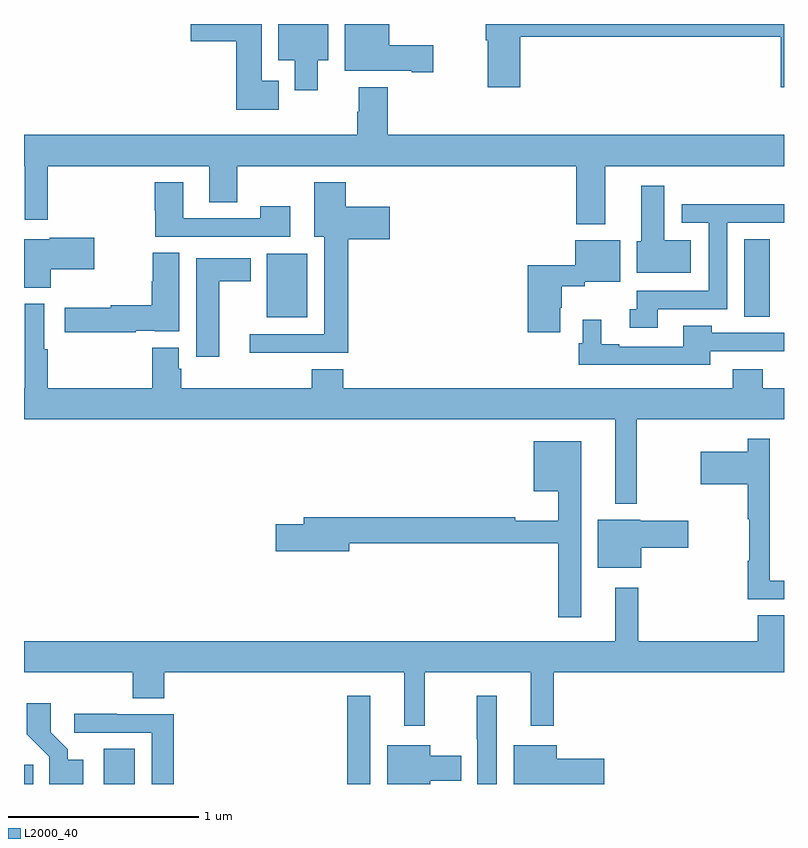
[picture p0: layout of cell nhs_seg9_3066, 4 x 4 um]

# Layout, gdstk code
import gdstk
lib = gdstk.Library(unit=1e-6, precision=1e-09)
def R(c, l, rs):  # rectangles x0, y0, x1, y1
    for r in rs: c.add(gdstk.rectangle(r[:2], r[2:], *l))
def P(c, l, *ps):  # polygons
    for p in ps: c.add(gdstk.Polygon(p, *l))
L2000_40 = (2000, 40)

nhs_seg9_3066 = lib.new_cell('nhs_seg9_3066')
R(nhs_seg9_3066, L2000_40, [(287,1194.5,287.048,1194.602), (287.42,1194.5,287.584,1194.685), (288.702,1194.5,288.823,1194.964), (288.278,1196.957,288.49,1197.292), (290.792,1196.959,290.926,1197.368)])
P(nhs_seg9_3066, L2000_40, [(288.547,1198.31),(288.601,1198.31),(288.601,1198.5),(288.338,1198.5),(288.338,1198.31),(288.425,1198.31),(288.425,1198.152),(288.547,1198.152)],
  [(289.153,1198.388),(288.922,1198.388),(288.922,1198.5),(288.689,1198.5),(288.689,1198.253),(289.04,1198.253),(289.04,1198.246),(289.153,1198.246)],
  [(289.613,1198.432),(290.984,1198.432),(290.984,1198.167),(291,1198.167),(291,1198.5),(289.43,1198.5),(289.43,1198.415),(289.442,1198.415),(289.442,1198.167),(289.613,1198.167)],
  [(288.34,1198.201),(288.25,1198.201),(288.25,1198.5),(287.877,1198.5),(287.877,1198.409),(288.116,1198.409),(288.116,1198.049),(288.34,1198.049)],
  [(290.059,1197.752),(291,1197.752),(291,1197.916),(288.914,1197.916),(288.914,1198.168),(288.761,1198.168),(288.761,1198.037),(288.754,1198.037),(288.754,1197.916),(287,1197.916),(287,1197.752),(287.003,1197.752),(287.003,1197.471),(287.125,1197.471),(287.125,1197.752),(287.975,1197.752),(287.975,1197.562),(288.123,1197.562),(288.123,1197.752),(289.907,1197.752),(289.907,1197.447),(290.059,1197.447)],
  [(288.4,1197.541),(288.244,1197.541),(288.244,1197.477),(287.839,1197.477),(287.839,1197.667),(287.687,1197.667),(287.687,1197.519),(287.692,1197.519),(287.692,1197.381),(288.4,1197.381)],
  [(288.707,1197.368),(288.925,1197.368),(288.925,1197.538),(288.694,1197.538),(288.694,1197.667),(288.527,1197.667),(288.527,1197.38),(288.581,1197.38),(288.581,1196.868),(288.189,1196.868),(288.189,1196.771),(288.707,1196.771)],
  [(290.509,1197.361),(290.371,1197.361),(290.371,1197.649),(290.249,1197.649),(290.249,1197.357),(290.225,1197.357),(290.225,1197.191),(290.509,1197.191)],
  [(290.335,1197),(290.7,1197),(290.7,1197.453),(291,1197.453),(291,1197.551),(290.463,1197.551),(290.463,1197.453),(290.604,1197.453),(290.604,1197.096),(290.226,1197.096),(290.226,1196.999),(290.187,1196.999),(290.187,1196.901),(290.335,1196.901)],
  [(287.14,1197.209),(287.371,1197.209),(287.371,1197.375),(287.136,1197.375),(287.136,1197.367),(287,1197.367),(287,1197.113),(287.14,1197.113)],
  [(289.822,1197.006),(289.83,1197.006),(289.83,1197.119),(289.95,1197.119),(289.95,1197.144),(290.137,1197.144),(290.137,1197.361),(289.901,1197.361),(289.901,1197.229),(289.652,1197.229),(289.652,1196.877),(289.822,1196.877)],
  [(287.588,1196.885),(287.688,1196.885),(287.688,1196.882),(287.818,1196.882),(287.818,1197.296),(287.677,1197.296),(287.677,1197.146),(287.672,1197.146),(287.672,1197.02),(287.457,1197.02),(287.457,1197.007),(287.214,1197.007),(287.214,1196.878),(287.588,1196.878)],
  [(288.028,1197.146),(288.193,1197.146),(288.193,1197.268),(287.906,1197.268),(287.906,1196.748),(288.028,1196.748)],
  [(290.225,1196.42),(291,1196.42),(291,1196.584),(290.889,1196.584),(290.889,1196.683),(290.729,1196.683),(290.729,1196.584),(288.68,1196.584),(288.68,1196.683),(288.515,1196.683),(288.515,1196.584),(287.828,1196.584),(287.828,1196.685),(287.815,1196.685),(287.815,1196.797),(287.675,1196.797),(287.675,1196.584),(287.125,1196.584),(287.125,1196.789),(287.107,1196.789),(287.107,1197.028),(287.003,1197.028),(287.003,1196.584),(287,1196.584),(287,1196.42),(290.111,1196.42),(290.111,1195.976),(290.225,1195.976)],
  [(290.611,1196.778),(291,1196.778),(291,1196.874),(290.619,1196.874),(290.619,1196.911),(290.471,1196.911),(290.471,1196.802),(290.134,1196.802),(290.134,1196.815),(290.038,1196.815),(290.038,1196.944),(289.941,1196.944),(289.941,1196.82),(289.921,1196.82),(289.921,1196.706),(290.611,1196.706)],
  [(291,1195.569),(290.925,1195.569),(290.925,1196.094),(290.926,1196.094),(290.926,1196.317),(290.809,1196.317),(290.809,1196.248),(290.562,1196.248),(290.562,1196.078),(290.809,1196.078),(290.809,1195.894),(290.817,1195.894),(290.817,1195.676),(290.809,1195.676),(290.809,1195.473),(291,1195.473)],
  [(289.933,1196.305),(289.682,1196.305),(289.682,1196.042),(289.812,1196.042),(289.812,1195.885),(289.586,1195.885),(289.586,1195.904),(288.473,1195.904),(288.473,1195.868),(288.324,1195.868),(288.324,1195.726),(288.712,1195.726),(288.712,1195.768),(289.812,1195.768),(289.812,1195.377),(289.933,1195.377)],
  [(290.248,1195.744),(290.497,1195.744),(290.497,1195.886),(290.244,1195.886),(290.244,1195.891),(290.021,1195.891),(290.021,1195.637),(290.248,1195.637)],
  [(289.108,1195.088),(289.667,1195.088),(289.667,1194.807),(289.789,1194.807),(289.789,1195.088),(291,1195.088),(291,1195.388),(290.861,1195.388),(290.861,1195.252),(290.233,1195.252),(290.233,1195.534),(290.111,1195.534),(290.111,1195.252),(287,1195.252),(287,1195.088),(287.573,1195.088),(287.573,1194.952),(287.738,1194.952),(287.738,1195.088),(289.001,1195.088),(289.001,1194.807),(289.108,1194.807)],
  [(289.489,1194.964),(289.383,1194.964),(289.383,1194.736),(289.385,1194.736),(289.385,1194.5),(289.489,1194.5)],
  [(287.311,1194.628),(287.23,1194.628),(287.23,1194.683),(287.14,1194.773),(287.14,1194.925),(287.014,1194.925),(287.014,1194.762),(287.133,1194.643),(287.133,1194.5),(287.311,1194.5)],
  [(287.789,1194.867),(287.489,1194.867),(287.489,1194.87),(287.265,1194.87),(287.265,1194.771),(287.673,1194.771),(287.673,1194.5),(287.789,1194.5)],
  [(289.138,1194.518),(289.3,1194.518),(289.3,1194.648),(289.138,1194.648),(289.138,1194.703),(288.911,1194.703),(288.911,1194.5),(289.138,1194.5)],
  [(290.053,1194.633),(289.804,1194.633),(289.804,1194.703),(289.577,1194.703),(289.577,1194.5),(290.053,1194.5)])

lib.write_gds('nhs_seg9_3066.gds')
